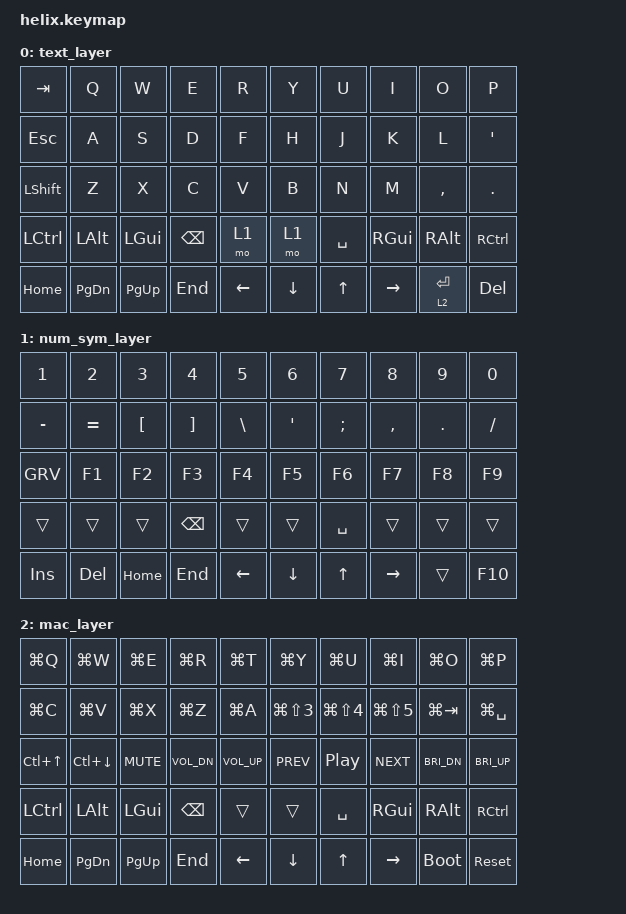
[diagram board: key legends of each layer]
#include <behaviors.dtsi>
#include <dt-bindings/zmk/keys.h>

/ {
    keymap {
        compatible = "zmk,keymap";

        text_layer {
            bindings = <
                &kp TAB      &kp Q        &kp W        &kp E        &kp R        &kp Y        &kp U        &kp I        &kp O        &kp P
                &kp ESC      &kp A        &kp S        &kp D        &kp F        &kp H        &kp J        &kp K        &kp L        &kp SQT
                &kp LSHFT    &kp Z        &kp X        &kp C        &kp V        &kp B        &kp N        &kp M        &kp COMMA    &kp DOT
                &kp LCTRL    &kp LALT     &kp LGUI     &kp BSPC     &mo 1        &mo 1        &kp SPACE    &kp RGUI     &kp RALT     &kp RCTRL
                &kp HOME     &kp PG_DN    &kp PG_UP    &kp END      &kp LEFT     &kp DOWN     &kp UP       &kp RIGHT    &lt 2 RET     &kp DEL
            >;
        };

        num_sym_layer {
            bindings = <
                &kp N1       &kp N2       &kp N3       &kp N4       &kp N5       &kp N6       &kp N7       &kp N8       &kp N9       &kp N0
                &kp MINUS    &kp EQUAL    &kp LBKT     &kp RBKT     &kp BSLH     &kp SQT      &kp SEMI     &kp COMMA    &kp DOT      &kp FSLH
                &kp GRV      &kp F1       &kp F2       &kp F3       &kp F4       &kp F5       &kp F6       &kp F7       &kp F8       &kp F9
                &trans       &trans       &trans       &kp BSPC     &trans       &trans       &kp SPACE    &trans       &trans       &trans
                &kp INS      &kp DEL      &kp HOME     &kp END      &kp LEFT     &kp DOWN     &kp UP       &kp RIGHT    &trans       &kp F10
            >;
        };

        mac_layer {
            bindings = <
                &kp LG(Q)        &kp LG(W)        &kp LG(E)        &kp LG(R)        &kp LG(T)        &kp LG(Y)        &kp LG(U)        &kp LG(I)        &kp LG(O)        &kp LG(P)
                &kp LG(C)        &kp LG(V)        &kp LG(X)        &kp LG(Z)        &kp LG(A)        &kp LG(LS(N3))   &kp LG(LS(N4))   &kp LG(LS(N5))   &kp LG(TAB)      &kp LG(SPACE)
                &kp LC(UP)       &kp LC(DOWN)     &kp C_MUTE       &kp C_VOL_DN     &kp C_VOL_UP     &kp C_PREV       &kp C_PP         &kp C_NEXT       &kp C_BRI_DN     &kp C_BRI_UP
                &kp LCTRL        &kp LALT         &kp LGUI         &kp BSPC         &trans           &trans           &kp SPACE        &kp RGUI         &kp RALT         &kp RCTRL
                &kp HOME         &kp PG_DN        &kp PG_UP        &kp END          &kp LEFT         &kp DOWN         &kp UP           &kp RIGHT        &bootloader      &sys_reset
            >;
        };
    };
};
